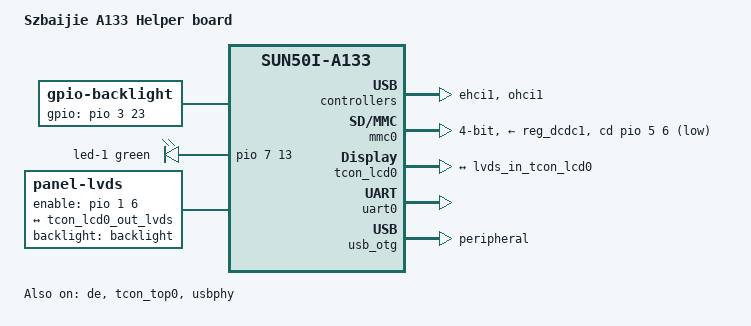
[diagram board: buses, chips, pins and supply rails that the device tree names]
// SPDX-License-Identifier: (GPL-2.0+ or MIT)
/*
 * Copyright (c) 2024 Linumiz
 * Author: Parthiban Nallathambi <parthiban@linumiz.com>
 */

/dts-v1/;

#include <dt-bindings/leds/common.h>
#include "sun50i-a133-helper-core.dtsi"

/{
	model = "Szbaijie A133 Helper board";
	compatible = "szbaijie,helper-a133", "szbaijie,helper-a133-core", "allwinner,sun50i-a133";

	aliases {
		mmc0 = &mmc0;
		serial0 = &uart0;
	};

	backlight: backlight {
		compatible = "gpio-backlight";
		gpios = <&pio 3 23 GPIO_ACTIVE_HIGH>;
		default-on;
	};

	leds {
		compatible = "gpio-leds";

		led-1 {
			color = <LED_COLOR_ID_GREEN>;
			gpios = <&pio 7 13 GPIO_ACTIVE_HIGH>;
			linux,default-trigger = "heartbeat";
		};
	};

	panel {
		compatible = "panel-lvds";
		backlight = <&backlight>;
		enable-gpios = <&pio 1 6 GPIO_ACTIVE_HIGH>;

		width-mm = <339>;
		height-mm = <212>;
		data-mapping = "vesa-24";

		panel-timing {
			/* 1024x600 @60Hz */
			clock-frequency = <65000000>;
			hactive = <1280>;
			vactive = <800>;
			hback-porch = <85>;
			vback-porch = <21>;
			hsync-len = <20>;
			hfront-porch = <180>;
			vfront-porch = <12>;
			vsync-len = <5>;
		};

		port {
			lvds_in_tcon_lcd0: endpoint {
				remote-endpoint = <&tcon_lcd0_out_lvds>;
			};
		};
	};
};

&de {
	status = "okay";
};

&ehci1 {
	status = "okay";
};

&mmc0 {
	vmmc-supply = <&reg_dcdc1>;
	vqmmc-supply = <&reg_dcdc1>;
	cd-gpios = <&pio 5 6 GPIO_ACTIVE_LOW>;
	disable-wp;
	bus-width = <4>;
	status = "okay";
};

&ohci1 {
	status = "okay";
};

&tcon_top0 {
	status = "okay";
};

&tcon_lcd0 {
	pinctrl-names = "default";
	pinctrl-0 = <&lcd_lvds0_pins>;

	ports {
		#address-cells = <1>;
		#size-cells = <0>;

		tcon_lcd0_out: port@1 {
			reg = <1>;
			#address-cells = <1>;
			#size-cells = <0>;

			tcon_lcd0_out_lvds: endpoint@0 {
				reg = <0>;
				remote-endpoint = <&lvds_in_tcon_lcd0>;
			};
		};
	};
};

&uart0 {
	pinctrl-names = "default";
	pinctrl-0 = <&uart0_pb_pins>;
	status = "okay";
};

&usb_otg {
	dr_mode = "peripheral";
	status = "okay";
};

&usbphy {
	usb0_id_det-gpios = <&pio 7 8 GPIO_ACTIVE_HIGH>; /* PH8 */
	usb0_vbus-supply = <&reg_dcdc1>;
	usb1_vbus-supply = <&reg_dcdc4>;
	status = "okay";
};
